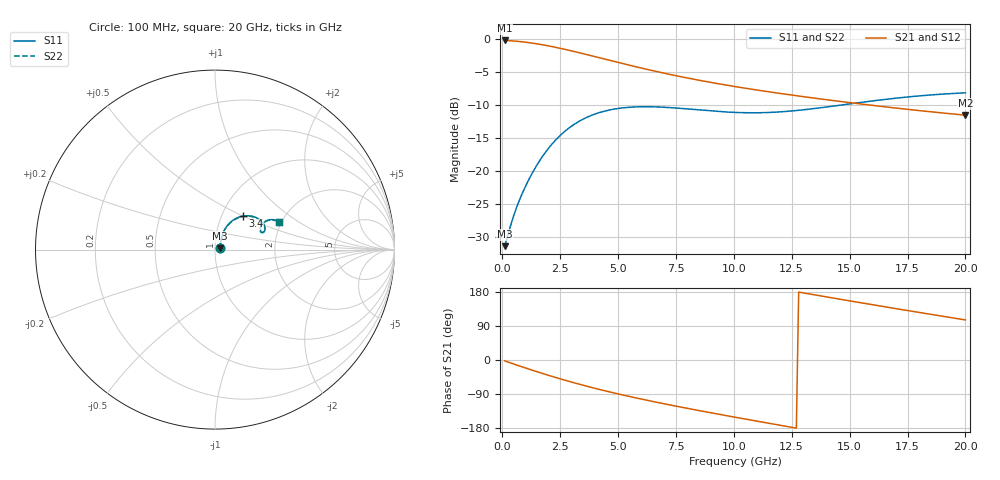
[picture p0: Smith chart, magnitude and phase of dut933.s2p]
! Touchstone file exported from HFSS 2024.1.0
!  File:  C:/UserFiles/LocalFiles/RDL_TSV_Batchsim/temp_RDL_TSV_933_1779961265.aedt
!  Generated:  05:54:43 PM May 28, 2026
!  Design:  RDL_TSV
!  Project:  temp_RDL_TSV_933_1779961265
!  Setup:  Setup1
!  Solution:  Sweep
! Variables:
!  dtsv = 7.43um
!  hbump = 3um
!  htsv = 66.98um
!  ldown = 583.75um
!  lrdl = 526.68um
!  p = 40
!  p1 = 59.16um
!  rhole = 10um
!  subl = 3857.97um
!  t = 450um
!  tdown = 2.35um
!  trdl = 2.34um
!  viad = 10um
!  wdown = 22.55um
!  wrdl = 24.12um
!  xbump = 18um
# GHz S MA R 50.000000
! Terminal data exported
! Port[1] = TM1_1_T1
! Port[2] = TM1_4_T1
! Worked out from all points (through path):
!   200 points, 100 MHz to 20 GHz, reference 50 ohm
!   highest |S21| = -0.23 dB at 100 MHz (marker M1); lowest = -11.6 dB at 20 GHz (marker M2)
!   group delay of S21, straight-line fit = 33.4 ps
!   lowest |S11| = -31.5 dB at 100 MHz (marker M3), VSWR 1.05, Z = 52.6 + j0.802 ohm
!   |S11| at or under -10 dB: start of sweep to 14.7 GHz
!   |S22| runs from -31.5 to -8.2 dB; largest |S21 - S12| = 7.7e-15
!   S11 on the Smith chart (normalised r, x): 100 MHz: 1.05, +0.02; 3.4 GHz: 1.25, +0.50; 20 GHz: 1.95, +0.71
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0.1  0.02675 16.5  0.9742 -2.2  0.9742 -2.2  0.02675 16.5
! Gamma 0 0 0 0
! Port Impedance 50 0 50 0
0.4  0.04057 44.2  0.9679 -8.6  0.9679 -8.6  0.04058 44.2
0.7  0.05741 55.2  0.9578 -14.9  0.9578 -14.9  0.05742 55.1
1.1  0.08262 62.0  0.9402 -23.0  0.9402 -23.0  0.08258 61.8
1.5  0.1109 64.1  0.9181 -31.0  0.9181 -31.0  0.1107 63.9
1.9  0.1408 63.4  0.8925 -38.7  0.8925 -38.7  0.1404 63.1
2.4  0.178 60.1  0.8569 -47.9  0.8569 -47.9  0.1773 59.8
2.9  0.2123 55.5  0.819 -56.7  0.819 -56.7  0.2112 55.2
3.4  0.2417 50.5  0.7804 -65.1  0.7804 -65.1  0.2403 50.1
3.5  0.2468 49.4  0.7727 -66.8  0.7727 -66.8  0.2454 49.1
4.2  0.2765 42.4  0.72 -77.8  0.72 -77.8  0.2746 42.1
5.1  0.2984 34.5  0.6572 -90.9  0.6572 -90.9  0.2961 34.2
5.9  0.3057 28.8  0.6075 -101.7  0.6075 -101.7  0.3031 28.5
6.8  0.3043 24.0  0.559 -113.2  0.559 -113.2  0.3016 23.8
8.4  0.2902 20.0  0.4896 -132.3  0.4896 -132.3  0.2874 19.8
10.1  0.2767 20.9  0.4338 -151.5  0.4338 -151.5  0.274 20.8
11.7  0.2777 24.5  0.3927 -169.0  0.3927 -169.0  0.2752 24.4
13.4  0.2953 28.0  0.357 172.8  0.357 172.8  0.2929 27.9
15.1  0.3232 29.3  0.3271 155.0  0.3271 155.0  0.3208 29.2
16.7  0.3505 28.4  0.303 138.6  0.303 138.6  0.3482 28.2
18.3  0.3735 26.2  0.2824 122.5  0.2824 122.5  0.371 26.0
20  0.3901 23.3  0.2641 105.8  0.2641 105.8  0.3874 23.1
